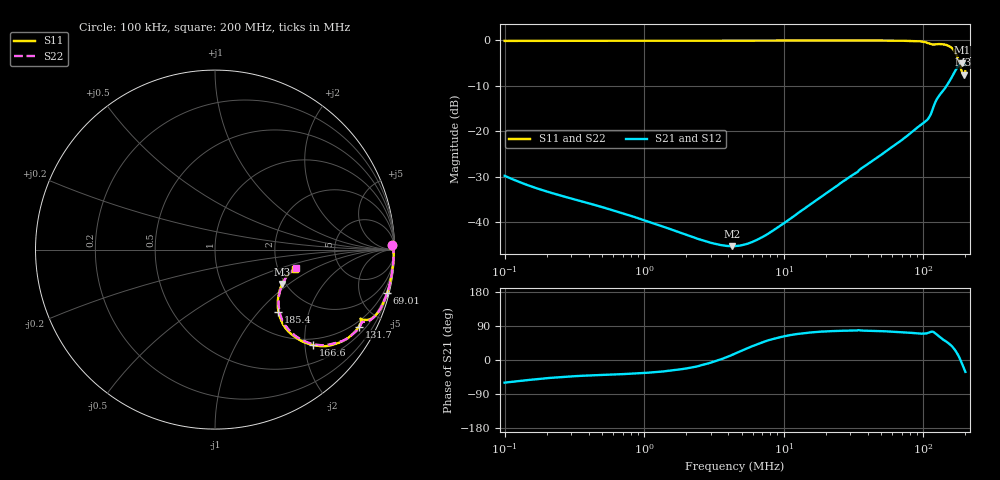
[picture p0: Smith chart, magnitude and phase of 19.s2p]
#  HZ  S  RI  R  50.00
! Rohde & Schwarz Vector Network Analyzer
! Rohde-Schwarz,ZNLE6-2Port,1323001256200024,1.71.1.10-23.02.1.238
! Created: UTC 4/9/2025, 2:11:26 AM
! freq[Hz]  re:S11  im:S11  re:S21  im:S21  re:S12  im:S12  re:S22  im:S22
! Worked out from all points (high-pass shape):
!   1001 points, 100 kHz to 200 MHz, reference 50 ohm
!   highest |S21| = -4.91 dB at 189.6 MHz (marker M1); lowest = -45.3 dB at 4.273 MHz (marker M2)
!   |S21| within 3 dB of the highest: 161.1 MHz to end of sweep
!   lowest |S11| = -7.5 dB at 194 MHz (marker M3), VSWR 2.45, Z = 95.9 - j44.7 ohm
!   |S11| at or under -10 dB: nowhere
!   |S22| runs from -7.5 to 0.0 dB; largest |S21 - S12| = 0.0054
!   S11 on the Smith chart (normalised r, x): 100 kHz: 30, +54; 69.01 MHz: 0.33, -8.06; 131.7 MHz: 0.78, -3.84; 166.6 MHz: 0.86, -2.18; 185.4 MHz: 1.41, -1.29; 200 MHz: 2.47, -0.67
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100000  0.984 0.0277  0.0163 -0.028  0.0163 -0.028  0.9838 0.0276
355854.1  0.9874 0.0104  0.0127 -0.0113  0.0127 -0.0113  0.9874 0.0104
1266322  0.9921 0.00187  0.00796 -0.00485  0.00797 -0.00486  0.9921 0.00189
2899721  0.9943 -0.00545  0.00597 -0.000912  0.00597 -0.000989  0.994 -0.00554
4272763  0.9947 -0.0105  0.00531 0.00128  0.00532 0.00127  0.9944 -0.0111
4472136  0.9947 -0.0115  0.00524 0.00158  0.00526 0.00156  0.9945 -0.0116
7110135  0.9952 -0.0218  0.0047 0.0051  0.00475 0.00507  0.995 -0.0214
1.591428e7  0.9943 -0.0521  0.00474 0.0155  0.00485 0.0154  0.9945 -0.0509
3.481714e7  0.9871 -0.1168  0.00748 0.0369  0.00816 0.0367  0.9878 -0.1139
5.663162e7  0.9734 -0.1947  0.0162 0.0613  0.0171 0.061  0.9745 -0.1891
6.900583e7  0.96 -0.2414  0.0224 0.0754  0.0238 0.0749  0.962 -0.2341
9.211385e7  0.9188 -0.3349  0.0387 0.105  0.0408 0.1043  0.9252 -0.3232
1.072372e8  0.8482 -0.3919  0.0435 0.1276  0.0456 0.1269  0.8758 -0.3852
1.174784e8  0.8106 -0.3851  0.0492 0.1749  0.0524 0.1742  0.8273 -0.4026
1.316659e8  0.8018 -0.4287  0.1277 0.2198  0.1297 0.2172  0.8022 -0.4361
1.498273e8  0.7108 -0.5104  0.2331 0.2376  0.2355 0.2351  0.7087 -0.5092
1.6665e8  0.5461 -0.532  0.3888 0.2127  0.391 0.2079  0.5474 -0.5265
1.757569e8  0.4378 -0.481  0.4904 0.1367  0.4919 0.1317  0.4375 -0.472
1.853616e8  0.3534 -0.3452  0.562 -0.0204  0.5618 -0.0256  0.3575 -0.3333
1.896369e8  0.3516 -0.2681  0.5584 -0.1059  0.5576 -0.1104  0.3566 -0.255
1.940108e8  0.3735 -0.192  0.5297 -0.1897  0.5291 -0.1943  0.3813 -0.1798
2e8  0.4439 -0.1072  0.456 -0.277  0.4545 -0.2815  0.4501 -0.1004
